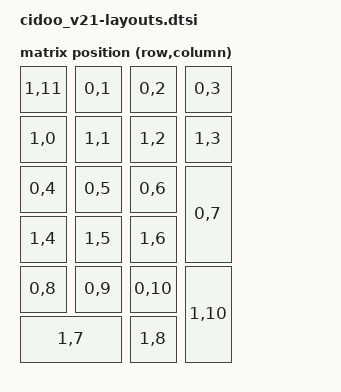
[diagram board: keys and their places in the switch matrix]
/*
 * SPDX-License-Identifier: GPL-3.0-or-later
 */

/*
 * CIDOO V21: matrix transform and physical layout.
 * Generated by gen_v21.py from Cidoo's CIDOO_V21_V3-USB.JSON.
 */

#include <dt-bindings/zmk/matrix_transform.h>
#include <physical_layouts.dtsi>

/ {
    default_transform: keymap_transform_0 {
        compatible = "zmk,matrix-transform";
        rows = <2>;
        columns = <12>;
        map = <
            RC(1,11) RC(0,1) RC(0,2) RC(0,3)
            RC(1,0) RC(1,1) RC(1,2) RC(1,3)
            RC(0,4) RC(0,5) RC(0,6) RC(0,7)
            RC(1,4) RC(1,5) RC(1,6)
            RC(0,8) RC(0,9) RC(0,10) RC(1,10)
            RC(1,7) RC(1,8)
        >;
    };

    v21_layout: v21_layout {
        compatible = "zmk,physical-layout";
        display-name = "Numpad";
        transform = <&default_transform>;
        keys  //                     w   h    x    y  rot  rx  ry
            = <&key_physical_attrs 100 100   10    0    0   0   0>  // 1,11
            , <&key_physical_attrs 100 100  120    0    0   0   0>  // 0,1
            , <&key_physical_attrs 100 100  230    0    0   0   0>  // 0,2
            , <&key_physical_attrs 100 100  340    0    0   0   0>  // 0,3
            , <&key_physical_attrs 100 100   10  100    0   0   0>  // 1,0
            , <&key_physical_attrs 100 100  120  100    0   0   0>  // 1,1
            , <&key_physical_attrs 100 100  230  100    0   0   0>  // 1,2
            , <&key_physical_attrs 100 100  340  100    0   0   0>  // 1,3
            , <&key_physical_attrs 100 100   10  200    0   0   0>  // 0,4
            , <&key_physical_attrs 100 100  120  200    0   0   0>  // 0,5
            , <&key_physical_attrs 100 100  230  200    0   0   0>  // 0,6
            , <&key_physical_attrs 100 200  340  200    0   0   0>  // 0,7
            , <&key_physical_attrs 100 100   10  300    0   0   0>  // 1,4
            , <&key_physical_attrs 100 100  120  300    0   0   0>  // 1,5
            , <&key_physical_attrs 100 100  230  300    0   0   0>  // 1,6
            , <&key_physical_attrs 100 100   10  400    0   0   0>  // 0,8
            , <&key_physical_attrs 100 100  120  400    0   0   0>  // 0,9
            , <&key_physical_attrs 100 100  230  400    0   0   0>  // 0,10
            , <&key_physical_attrs 100 200  340  400    0   0   0>  // 1,10
            , <&key_physical_attrs 210 100   10  500    0   0   0>  // 1,7
            , <&key_physical_attrs 100 100  230  500    0   0   0>  // 1,8
            ;
    };
};
